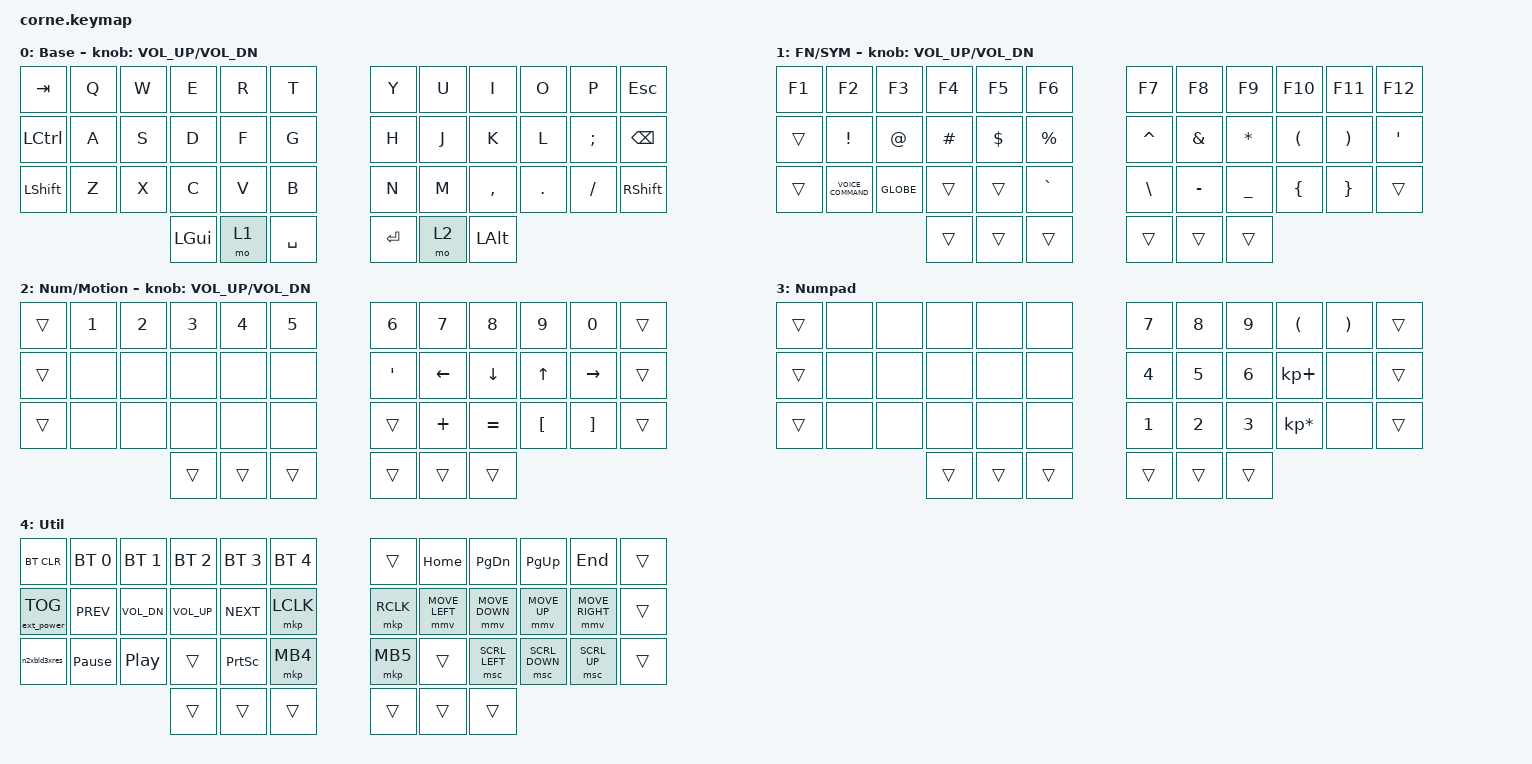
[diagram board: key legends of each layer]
/*
 * Copyright (c) 2020 The ZMK Contributors
 *
 * SPDX-License-Identifier: MIT
 */

#include <behaviors.dtsi>
#include <dt-bindings/zmk/bt.h>
#include <dt-bindings/zmk/ext_power.h>
#include <dt-bindings/zmk/keys.h>
#include <dt-bindings/zmk/pointing.h>

/*
 * The corne shield's boards/nice_nano_v2.overlay enables &spi3 unconditionally
 * for the WS2812 underglow, pinning SPIM_MOSI to P0.06. But P0.06 is also
 * pro_micro D1, which the nice_view_adapter uses as the nice!view chip-select.
 * With spi3 active, pinctrl owns P0.06 and CS can never be driven, so the
 * display stays blank even though the ls0xx driver loads fine.
 *
 * Underglow is not enabled in this build (no CONFIG_ZMK_RGB_UNDERGLOW), so
 * spi3 is dead weight. Disable it to give P0.06 back to the display.
 */

&spi3 { status = "disabled"; };

/ {
    behaviors {
        td_numpad: td_numpad {
            compatible = "zmk,behavior-tap-dance";
            label = "TD_NUMPAD";
            #binding-cells = <0>;
            bindings = <&mo 1>, <&tog 3>;
        };

        RSHIFT2xCAPS: RSHIFT2xCAPS {
            compatible = "zmk,behavior-tap-dance";
            label = "RSHIFT2XCAPS";
            #binding-cells = <0>;
            bindings = <&kp RIGHT_SHIFT>, <&none>, <&kp CAPS>;
        };

        LSHIFT2xCAPS: LSHIFT2xCAPS {
            compatible = "zmk,behavior-tap-dance";
            label = "LSHIFT2XCAPS";
            #binding-cells = <0>;
            bindings = <&kp LEFT_SHIFT>, <&none>, <&kp CAPS>;
        };

        n2xbld3xres: n2xbld3xres {
            compatible = "zmk,behavior-tap-dance";
            label = "N2XBLD3XRES";
            #binding-cells = <0>;
            bindings = <&none>, <&bootloader>, <&sys_reset>;
        };

        L22xMux: L22xMux {
            compatible = "zmk,behavior-tap-dance";
            label = "L22XMUX";
            #binding-cells = <0>;
            bindings = <&mo 2>, <&kp LC(A)>;
        };
    };

    combos {
        compatible = "zmk,combos";

        FN_Momentary {
            bindings = <&mo 4>;
            timeout-ms = <100>;
            key-positions = <37 40>;
            layers = <0>;
        };
    };

    keymap {
        compatible = "zmk,keymap";

        default_layer {
            // ------------------------------------------------------------------------------------------------------------
            // |  TAB  |  Q  |  W  |  E   |  R   |  T   |                   |  Y   |  U    |  I    |  O   |   P   | ESC   |
            // |  CTRL |  A  |  S  |  D   |  F   |  G   |                   |  H   |  J    |  K    |  L   |   ;   | BSPC  |
            // | SHIFT |  Z  |  X  |  C   |  V   |  B   |   "["  |  |  "]"  |  N   |  M    |  ,    |  .   |   /   | SHIFT |
            //                     | GUI  | LOWER|  SPACE |                 | ENTER | RAISE|  ALT  |

            bindings = <
&kp TAB     &kp Q  &kp W  &kp E         &kp R  &kp T        &kp Y      &kp U  &kp I         &kp O       &kp P      &kp ESC
&kp LCTRL   &kp A  &kp S  &kp D         &kp F  &kp G        &kp H      &kp J  &kp K         &kp L       &kp SEMI   &kp BSPC
&kp LSHIFT  &kp Z  &kp X  &kp C         &kp V  &kp B        &kp N      &kp M  &kp COMMA     &kp PERIOD  &kp SLASH  &kp RIGHT_SHIFT
                          &kp LEFT_GUI  &mo 1  &kp SPACE    &kp ENTER  &mo 2  &kp LEFT_ALT
            >;

            sensor-bindings = <&inc_dec_kp C_VOL_UP C_VOL_DN>;
            label = "Base";
        };

        lower_layer {
            // ------------------------------------------------------------------------------------------------------------
            // |  F1   |  F2 |  F3 |  F4  |  F5  |  F6  |                   |  F7  |  F8   |  F9   |  F10 |  F11  |  F12  |
            // |   `   |  !  |  @  |  #   |  $   |  %   |                   |  ^   |  &    |  *    |  (   |   )   |  ~   |
            // |       |     |     |      |      |      |        |  |       |      |  _    |  +    |  {   |   }   |  "|"  |
            //                     |      |      |      |        |  |       |      |       |       |

            bindings = <
&kp F1  &kp F2               &kp F3     &kp F4    &kp F5      &kp F6       &kp F7         &kp F8     &kp F9          &kp F10         &kp F11   &kp F12
&trans  &kp EXCL             &kp AT     &kp HASH  &kp DOLLAR  &kp PRCNT    &kp CARET      &kp AMPS   &kp ASTRK       &kp LPAR        &kp RPAR  &kp SINGLE_QUOTE
&trans  &kp C_VOICE_COMMAND  &kp GLOBE  &trans    &trans      &kp GRAVE    &kp BACKSLASH  &kp MINUS  &kp UNDERSCORE  &kp LEFT_BRACE  &kp RBRC  &trans
                                        &trans    &trans      &trans       &trans         &trans     &trans
            >;

            sensor-bindings = <&inc_dec_kp C_VOL_UP C_VOL_DN>;
            label = "FN/SYM";
        };

        raise_layer {
            // ------------------------------------------------------------------------------------------------------------
            // |   `   |  1  |  2  |  3   |  4   |  5   |                   |  6   |   7   |   8   |  9   |   0   |       |
            // |   F1  |  F2 |  F3 |  F4  |  F5  |  F6  |                   |      |   <-  |   v   |  ^   |  ->   |       |
            // |   F7  |  F8 |  F9 |  F10 |  F11 |  F12 |        |  |       |  +   |   -   |   =   |  [   |   ]   |   \   |
            //                            |      |      |        |  |       |      |       |

            bindings = <
&trans  &kp N1  &kp N2  &kp N3  &kp N4  &kp N5    &kp N6            &kp N7    &kp N8     &kp N9            &kp N0             &trans
&trans  &none   &none   &none   &none   &none     &kp SINGLE_QUOTE  &kp LEFT  &kp DOWN   &kp UP            &kp RIGHT          &trans
&trans  &none   &none   &none   &none   &none     &trans            &kp PLUS  &kp EQUAL  &kp LEFT_BRACKET  &kp RIGHT_BRACKET  &trans
                        &trans  &trans  &trans    &trans            &trans    &trans
            >;

            sensor-bindings = <&inc_dec_kp C_VOL_UP C_VOL_DN>;
            label = "Num/Motion";
        };

        numpad_layer {
            // ------------------------------------------------------------------------------------------------------------
            // |       |     |     |      |      |      |                   |  7   |  8   |  9   |  (   |   )   |       |
            // |       |     |     |      |      |      |                   |  4   |  5   |  6   |  +   |       |       |
            // |       |     |     |      |      |      |        |  |       |  1   |  2   |  3   |  *   |       |       |
            //                            |      |      |        |  |       |  0   | DEL  |       |

            bindings = <
&trans  &none  &none  &none   &none   &none     &kp N7        &kp N8        &kp N9        &kp LEFT_PARENTHESIS  &kp RIGHT_PARENTHESIS  &trans
&trans  &none  &none  &none   &none   &none     &kp N4        &kp N5        &kp N6        &kp KP_PLUS           &none                  &trans
&trans  &none  &none  &none   &none   &none     &kp NUMBER_1  &kp NUMBER_2  &kp NUMBER_3  &kp KP_MULTIPLY       &none                  &trans
                      &trans  &trans  &trans    &trans        &trans        &trans
            >;

            label = "Numpad";
        };

        layer_4 {
            // ------------------------------------------------------------------------------------------------------------
            // |       |      |      |      |      |      |                   |       |       |         |         |       |       |
            // |       |      |      |      |      |      |                   |       |       |         |         |       |       |
            // |       |      |      |      |      |      |        |  |       | HOME  | PGDN  |  PGUP   |  END    |       |       |
            //                            |        |        |        |        |       |       |         |

            bindings = <
&bt BT_CLR         &bt BT_SEL 0     &bt BT_SEL 1      &bt BT_SEL 2  &bt BT_SEL 3     &bt BT_SEL 4    &trans     &kp HOME        &kp PAGE_DOWN   &kp PAGE_UP     &kp END          &trans
&ext_power EP_TOG  &kp C_PREV       &kp C_VOL_DN      &kp C_VOL_UP  &kp C_NEXT       &mkp LCLK       &mkp RCLK  &mmv MOVE_LEFT  &mmv MOVE_DOWN  &mmv MOVE_UP    &mmv MOVE_RIGHT  &trans
&n2xbld3xres       &kp PAUSE_BREAK  &kp C_PLAY_PAUSE  &trans        &kp PRINTSCREEN  &mkp MB4        &mkp MB5   &trans          &msc SCRL_LEFT  &msc SCRL_DOWN  &msc SCRL_UP     &trans
                                                      &trans        &trans           &trans          &trans     &trans          &trans
            >;

            label = "Util";
        };
    };
};
